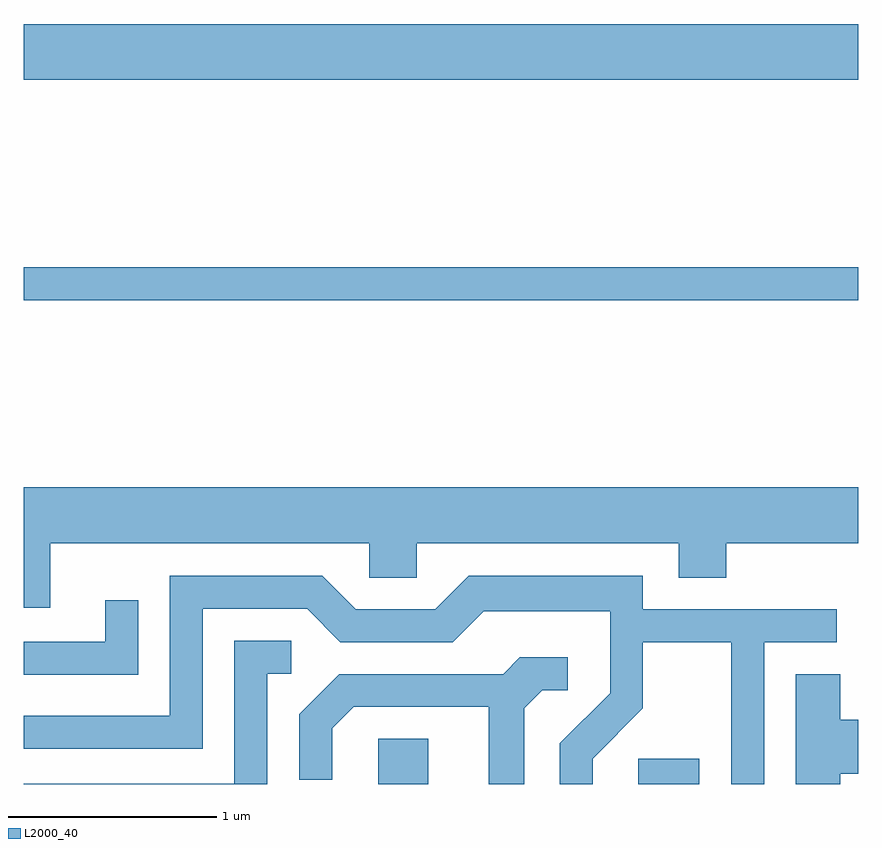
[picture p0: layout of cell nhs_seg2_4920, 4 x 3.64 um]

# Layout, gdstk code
import gdstk
lib = gdstk.Library(unit=1e-6, precision=1e-09)
def R(c, l, rs):  # rectangles x0, y0, x1, y1
    for r in rs: c.add(gdstk.rectangle(r[:2], r[2:], *l))
def P(c, l, *ps):  # polygons
    for p in ps: c.add(gdstk.Polygon(p, *l))
L2000_40 = (2000, 40)

nhs_seg2_4920 = lib.new_cell('nhs_seg2_4920')
R(nhs_seg2_4920, L2000_40, [(331.311,1073.802,331.549,1074.019), (332.556,1073.802,332.849,1073.924), (329.611,1076.121,333.611,1076.279), (329.611,1077.176,333.611,1077.444)])
P(nhs_seg2_4920, L2000_40, [(329.739,1074.956),(331.266,1074.956),(331.266,1074.791),(331.494,1074.791),(331.494,1074.956),(332.751,1074.956),(332.751,1074.791),(332.979,1074.791),(332.979,1074.956),(333.611,1074.956),(333.611,1075.224),(329.611,1075.224),(329.611,1074.646),(329.739,1074.646)],
  [(332.339,1073.924),(332.579,1074.164),(332.579,1074.481),(333.001,1074.481),(333.001,1073.802),(333.159,1073.802),(333.159,1074.481),(333.508,1074.481),(333.508,1074.639),(332.579,1074.639),(332.579,1074.799),(331.744,1074.799),(331.584,1074.639),(331.202,1074.639),(331.042,1074.799),(330.311,1074.799),(330.311,1074.129),(329.611,1074.129),(329.611,1073.971),(330.469,1073.971),(330.469,1074.641),(330.969,1074.641),(331.129,1074.481),(331.667,1074.481),(331.817,1074.631),(332.421,1074.631),(332.421,1074.237),(332.181,1073.997),(332.181,1073.802),(332.339,1073.802)],
  [(330.159,1074.683),(330.001,1074.683),(330.001,1074.484),(329.611,1074.484),(329.611,1074.326),(330.159,1074.326)],
  [(330.779,1074.331),(330.893,1074.331),(330.893,1074.489),(330.621,1074.489),(330.621,1073.804),(329.611,1073.804),(329.611,1073.802),(330.779,1073.802)],
  [(332.009,1074.164),(332.097,1074.251),(332.218,1074.251),(332.218,1074.409),(331.989,1074.409),(331.909,1074.329),(331.124,1074.329),(330.931,1074.137),(330.931,1073.823),(331.089,1073.823),(331.089,1074.069),(331.192,1074.171),(331.841,1074.171),(331.841,1073.802),(332.009,1073.802)],
  [(333.524,1073.851),(333.611,1073.851),(333.611,1074.109),(333.524,1074.109),(333.524,1074.329),(333.311,1074.329),(333.311,1073.802),(333.524,1073.802)])

lib.write_gds('nhs_seg2_4920.gds')
